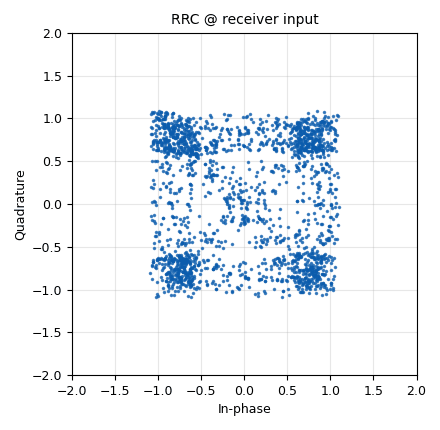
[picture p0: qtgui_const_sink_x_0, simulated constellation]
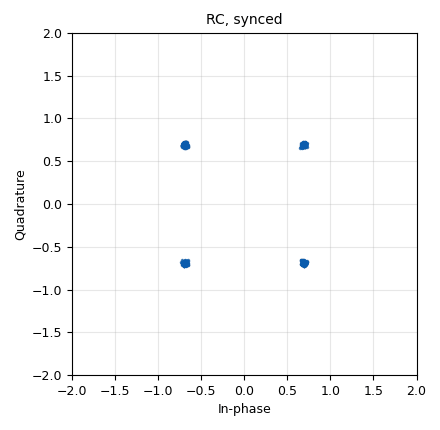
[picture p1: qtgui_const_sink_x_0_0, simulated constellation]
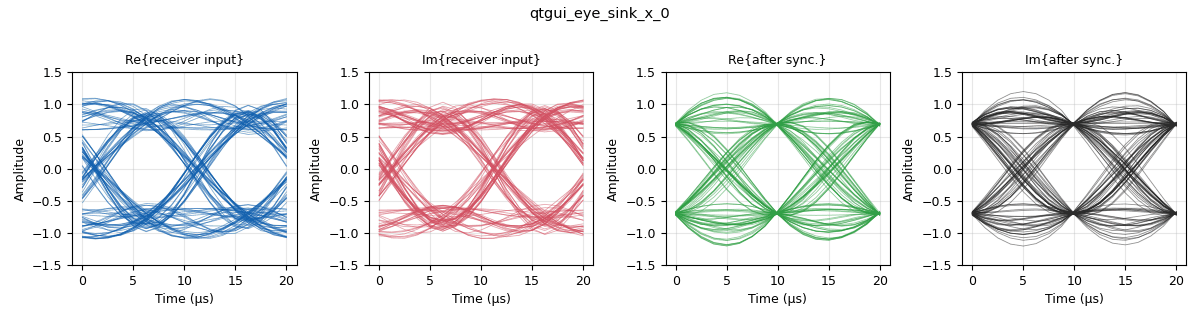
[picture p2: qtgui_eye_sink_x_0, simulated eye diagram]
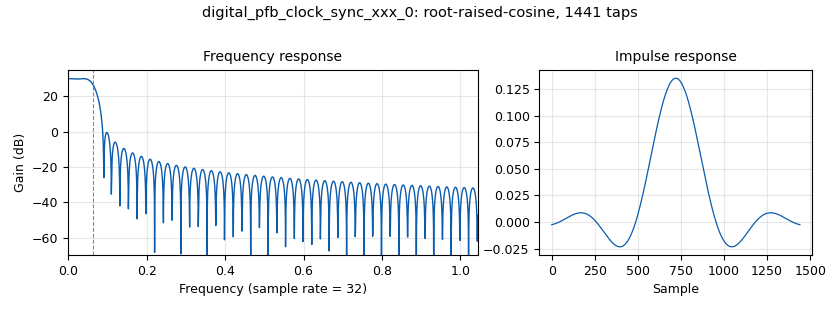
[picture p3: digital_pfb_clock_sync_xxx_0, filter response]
options:
  parameters:
    category: Custom
    generate_options: qt_gui
    id: pyqt_eye_sink
    output_language: python
    title: Eye Sink Example
  states: {}

blocks:
- name: alpha
  id: variable_qtgui_range
  parameters:
    comment: Roll off factor (RRC filter)
    gui_hint: 0,1,1,1
    label: Roll off
    start: '0.0001'
    step: '0.01'
    stop: '1'
    value: '0.35'
  states: {}
- name: bpsk
  id: variable_constellation_rect
  parameters:
    const_points: '[1, -1]'
    imag_sect: '0'
    real_sect: '2'
    rot_sym: '4'
    sym_map: '[0, 1]'
    w_imag_sect: '1'
    w_real_sect: '1'
  states: {}
- name: nfilts
  id: variable
  parameters:
    value: '32'
  states: {}
- name: noise_volt
  id: variable_qtgui_range
  parameters:
    gui_hint: 0,0,1,1
    label: Noise Voltage
    start: '0'
    step: '0.01'
    stop: '1'
    value: '0.0001'
  states: {}
- name: qam_16
  id: variable_constellation_rect
  parameters:
    const_points: digital.qam_16()[0]
    imag_sect: '2'
    real_sect: '2'
    rot_sym: '4'
    sym_map: digital.qam_16()[1]
    w_imag_sect: '1'
    w_real_sect: '1'
  states: {}
- name: qam_64
  id: variable_constellation_rect
  parameters:
    const_points: |
      [(-7+7j),(-5+7j),(-3+7j),(-1+7j),(+1+7j),(+3+7j),(+5+7j),(+7+7j),(-7+5j),(-5+5j),(-3+5j),(-1+5j),(+1+5j),(+3+5j),(+5+5j),(+7+5j),(-7+3j),(-5+3j),(-3+3j),(-1+3j),(+1+3j),(+3+3j),(+5+3j),(+7+3j),(-7+1j),(-5+1j),(-3+1j),(-1+1j),(+1+1j),(+3+1j),(+5+1j),(+7+1j),(-7-1j),(-5-1j),(-3-1j),(-1-1j),(+1-1j),(+3-1j),(+5-1j),(+7-1j),(-7-3j),(-5-3j),(-3-3j),(-1-3j),(+1-3j),(+3-3j),(+5-3j),(+7-3j),(-7-5j),(-5-5j),(-3-5j),(-1-5j),(+1-5j),(+3-5j),(+5-5j),(+7-5j),(-7-7j),(-5-7j),(-3-7j),(-1-7j),(+1-7j),(+3-7j),(+5-7j),(+7-7j)]
    imag_sect: '2'
    real_sect: '2'
    rot_sym: '4'
    sym_map: '[26, 27,25, 24, 8, 9, 11, 10,30,31,29,28,12, 13,15,14,22,23,21,20,4,5,7,6,18,19,17,16,0,1,3,2,50,51,49,48,32,33,35,34,54,55,53,52,36,37,39,38,62,63,61,60,44,45,47,46,58,59,57,56,40,41,43,42]'
    w_imag_sect: '1'
    w_real_sect: '1'
  states: {}
- name: qpsk
  id: variable_constellation_rect
  parameters:
    const_points: '[0.707+0.707j, -0.707+0.707j, -0.707-0.707j, 0.707-0.707j]'
    imag_sect: '2'
    real_sect: '2'
    rot_sym: '4'
    sym_map: '[0, 1, 2, 3]'
    w_imag_sect: '1'
    w_real_sect: '1'
  states: {}
- name: rrc_taps
  id: variable
  parameters:
    value: firdes.root_raised_cosine(nfilts, nfilts, 1.0/float(sps), alpha, 45*nfilts)
  states: {}
- name: samp_rate
  id: variable
  parameters:
    value: symbol_rate*sps
  states: {}
- name: sps
  id: variable
  parameters:
    value: '8'
  states: {}
- name: symbol_rate
  id: variable
  parameters:
    value: '100000'
  states: {}
- name: taps
  id: variable
  parameters:
    value: '[1.0, 0.25-0.25j, 0.50 + 0.10j, -0.3 + 0.2j]'
  states: {state: disabled}
- name: taps
  id: variable
  parameters:
    value: '[1.0 + 0.0j, ]'
  states: {}
- name: time_offset
  id: variable_qtgui_range
  parameters:
    gui_hint: 0,2,1,1
    label: Timing Offset
    start: '0.999'
    step: '0.0001'
    stop: '1.001'
    value: '1.00'
  states: {}
- name: analog_random_source_x_0
  id: analog_random_source_x
  parameters:
    max: '256'
    min: '0'
    num_samps: '10000'
    repeat: 'True'
    type: byte
  states: {}
- name: blocks_throttle_0
  id: blocks_throttle
  parameters:
    samples_per_second: samp_rate
    type: complex
  states: {}
- name: channels_channel_model_0
  id: channels_channel_model
  parameters:
    comment: |-
      At channel output, digital signal is
      Root Raised Cosine (RRC) filtered.
      (It exhibits inter symbol interference (ISI))
    epsilon: time_offset
    freq_offset: '0'
    noise_voltage: noise_volt
    seed: '0'
    taps: taps
  states: {}
- name: digital_constellation_modulator_0
  id: digital_constellation_modulator
  parameters:
    comment: |-
      Constellation can be set to : 
      "bpsk" "qpsk" "qam_16" or "qam_64"
    constellation: qpsk
    differential: 'False'
    excess_bw: alpha
    samples_per_symbol: sps
  states: {}
- name: digital_pfb_clock_sync_xxx_0
  id: digital_pfb_clock_sync_xxx
  parameters:
    comment: |-
      Timing synchronization also
      perform RRC filtering
    filter_size: nfilts
    init_phase: nfilts/2
    loop_bw: 6.28/100.0
    max_dev: '1.5'
    osps: sps
    sps: sps*1.001
    taps: rrc_taps
    type: ccf
  states: {}
- name: digital_pfb_clock_sync_xxx_0_0
  id: digital_pfb_clock_sync_xxx
  parameters:
    filter_size: nfilts
    init_phase: nfilts/2
    loop_bw: 6.28/100.0
    max_dev: '1.5'
    osps: '1'
    sps: sps*1.001
    taps: rrc_taps
    type: ccf
  states: {}
- name: note_0
  id: note
  parameters:
    comment: |-
      10K 的 byte 样本，Repeat 循环随机产生：
      - BPSK，10*8K 个 symbols -> sps=8 -> 10*8*8K = 640K samples, 100Khz 的采样率限制
  states: {}
- name: qtgui_const_sink_x_0
  id: qtgui_const_sink_x
  parameters:
    alpha1: '0.5'
    gui_hint: 1,2,1,1
    name: RRC @ receiver input
    size: '2048'
    type: complex
  states: {}
- name: qtgui_const_sink_x_0_0
  id: qtgui_const_sink_x
  parameters:
    alpha1: '0.5'
    gui_hint: 2,2,1,1
    name: RC, synced
    size: '2048'
    type: complex
  states: {}
- name: qtgui_eye_sink_x_0
  id: qtgui_eye_sink_x
  parameters:
    gui_hint: 1,0,2,2
    label1: Re{receiver input}
    label2: Im{receiver input}
    label3: Re{after sync.}
    label4: Im{after sync.}
    nconnections: '2'
    samp_per_symbol: sps
    size: '2048'
    srate: samp_rate
    style2: '0'
    type: complex
    ymax: '1.5'
    ymin: '-1.5'
  states: {}
- name: virtual_sink_0
  id: virtual_sink
  parameters:
    alias: channel_input
    stream_id: channel_input
  states: {}
- name: virtual_source_0
  id: virtual_source
  parameters:
    stream_id: channel_input
  states: {}

connections:
- [analog_random_source_x_0, '0', digital_constellation_modulator_0, '0']
- [blocks_throttle_0, '0', virtual_sink_0, '0']
- [channels_channel_model_0, '0', digital_pfb_clock_sync_xxx_0, '0']
- [channels_channel_model_0, '0', digital_pfb_clock_sync_xxx_0_0, '0']
- [channels_channel_model_0, '0', qtgui_const_sink_x_0, '0']
- [channels_channel_model_0, '0', qtgui_eye_sink_x_0, '0']
- [digital_constellation_modulator_0, '0', blocks_throttle_0, '0']
- [digital_pfb_clock_sync_xxx_0, '0', qtgui_eye_sink_x_0, '1']
- [digital_pfb_clock_sync_xxx_0_0, '0', qtgui_const_sink_x_0_0, '0']
- [virtual_source_0, '0', channels_channel_model_0, '0']

metadata:
  file_format: 1
  grc_version: 3.10.11.0
